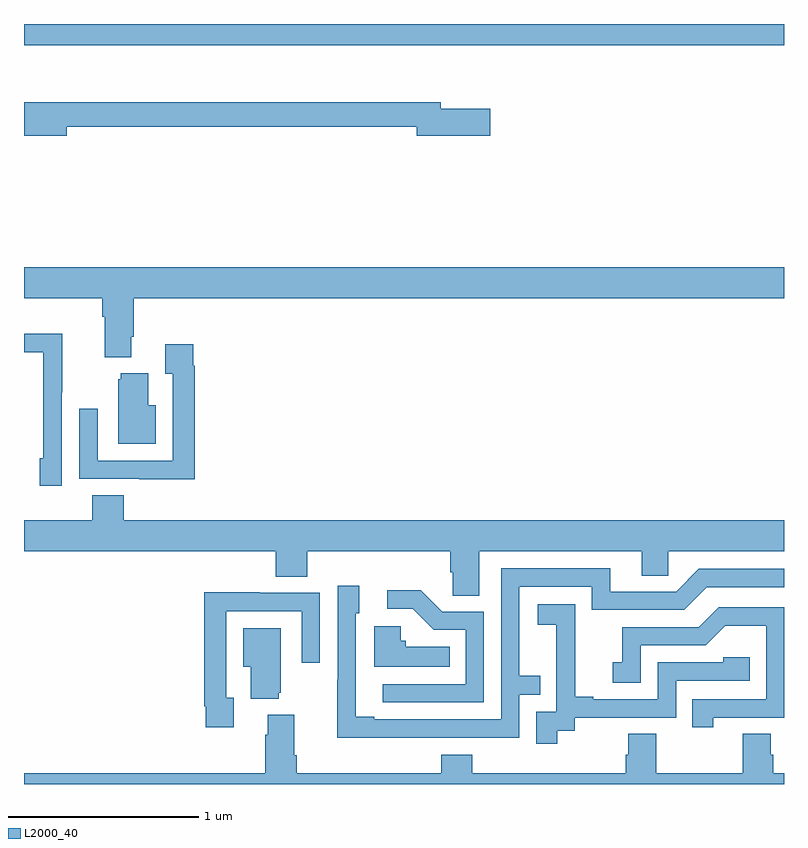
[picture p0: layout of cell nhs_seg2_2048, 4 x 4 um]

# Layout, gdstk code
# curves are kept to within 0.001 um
import gdstk
lib = gdstk.Library(unit=1e-6, precision=1e-09)
def R(c, l, rs):  # rectangles x0, y0, x1, y1
    for r in rs: c.add(gdstk.rectangle(r[:2], r[2:], *l))
def P(c, l, *ps):  # polygons
    for p in ps: c.add(gdstk.Polygon(p, *l))
L2000_40 = (2000, 40)

nhs_seg2_2048 = lib.new_cell('nhs_seg2_2048')
R(nhs_seg2_2048, L2000_40, [(219,595.688,223,595.8)])
P(nhs_seg2_2048, L2000_40, [(219.226,595.258),(221.066,595.258),(221.066,595.211),(221.455,595.211),(221.455,595.353),(221.194,595.353),(221.194,595.387),(219,595.387),(219,595.211),(219.226,595.211)],
  [(219.565,594.154),(219.578,594.154),(219.578,594.356),(223,594.356),(223,594.52),(219,594.52),(219,594.356),(219.413,594.356),(219.413,594.26),(219.425,594.26),(219.425,594.047),(219.565,594.047)],
  [(219.198,593.863),(219.201,593.863),(219.201,594.17),(219,594.17),(219,594.072),(219.102,594.072),(219.102,593.514),(219.083,593.514),(219.083,593.37),(219.198,593.37)],
  [(219.899,594.002),(219.892,594.002),(219.892,594.115),(219.743,594.115),(219.743,593.959),(219.783,593.959),(219.783,593.502),(219.387,593.502),(219.387,593.776),(219.291,593.776),(219.291,593.406),(219.607,593.406),(219.607,593.405),(219.899,593.405)],
  [(219.694,593.794),(219.655,593.794),(219.655,593.962),(219.509,593.962),(219.509,593.931),(219.497,593.931),(219.497,593.591),(219.694,593.591)],
  [(221.395,593.024),(222.251,593.024),(222.251,592.897),(222.39,592.897),(222.39,593.024),(223,593.024),(223,593.188),(219.524,593.188),(219.524,593.321),(219.359,593.321),(219.359,593.188),(219,593.188),(219,593.024),(220.325,593.024),(220.325,592.891),(220.49,592.891),(220.49,593.024),(221.243,593.024),(221.243,592.915),(221.256,592.915),(221.256,592.792),(221.395,592.792)],
  [(221.111,592.044),(221.607,592.044),(221.607,592.269),(221.717,592.269),(221.717,592.37),(221.607,592.37),(221.607,592.839),(221.988,592.839),(221.988,592.716),(222.474,592.716),(222.594,592.836),(223,592.836),(223,592.932),(222.552,592.932),(222.432,592.812),(222.085,592.812),(222.085,592.935),(221.511,592.935),(221.511,592.14),(220.843,592.14),(220.843,592.153),(220.746,592.153),(220.746,592.698),(220.765,592.698),(220.765,592.843),(220.65,592.843),(220.65,592.349),(220.648,592.349),(220.648,592.043)],
  [(221.421,592.707),(221.202,592.707),(221.089,592.82),(220.911,592.82),(220.911,592.722),(221.045,592.722),(221.156,592.611),(221.325,592.611),(221.325,592.326),(220.887,592.326),(220.887,592.23),(221.421,592.23)],
  [(220.105,592.254),(220.065,592.254),(220.065,592.71),(220.461,592.71),(220.461,592.437),(220.557,592.437),(220.557,592.806),(220.241,592.806),(220.241,592.808),(219.949,592.808),(219.949,592.21),(219.957,592.21),(219.957,592.098),(220.105,592.098)],
  [(221.806,592.081),(221.898,592.081),(221.898,592.149),(222.432,592.149),(222.432,592.344),(222.821,592.344),(222.821,592.467),(222.681,592.467),(222.681,592.44),(222.336,592.44),(222.336,592.245),(221.995,592.245),(221.995,592.258),(221.9,592.258),(221.9,592.541),(221.901,592.541),(221.901,592.747),(221.703,592.747),(221.703,592.637),(221.801,592.637),(221.801,592.409),(221.802,592.409),(221.802,592.179),(221.697,592.179),(221.697,592.011),(221.806,592.011)],
  [(222.628,592.149),(223,592.149),(223,592.731),(222.656,592.731),(222.551,592.626),(222.148,592.626),(222.148,592.441),(222.099,592.441),(222.099,592.332),(222.246,592.332),(222.246,592.53),(222.588,592.53),(222.692,592.634),(222.906,592.634),(222.906,592.245),(222.517,592.245),(222.517,592.098),(222.628,592.098)],
  [(221.24,592.522),(221.01,592.522),(221.01,592.554),(220.983,592.554),(220.983,592.63),(220.844,592.63),(220.844,592.418),(221.24,592.418)],
  [(220.34,592.281),(220.351,592.281),(220.351,592.621),(220.154,592.621),(220.154,592.418),(220.193,592.418),(220.193,592.25),(220.34,592.25)],
  [(223,591.856),(222.944,591.856),(222.944,591.954),(222.931,591.954),(222.931,592.064),(222.784,592.064),(222.784,591.856),(222.327,591.856),(222.327,592.064),(222.179,592.064),(222.179,591.954),(222.167,591.954),(222.167,591.856),(221.36,591.856),(221.36,591.955),(221.195,591.955),(221.195,591.856),(220.436,591.856),(220.436,591.952),(220.423,591.952),(220.423,592.165),(220.283,592.165),(220.283,592.058),(220.271,592.058),(220.271,591.856),(219,591.856),(219,591.8),(223,591.8)])

lib.write_gds('nhs_seg2_2048.gds')
